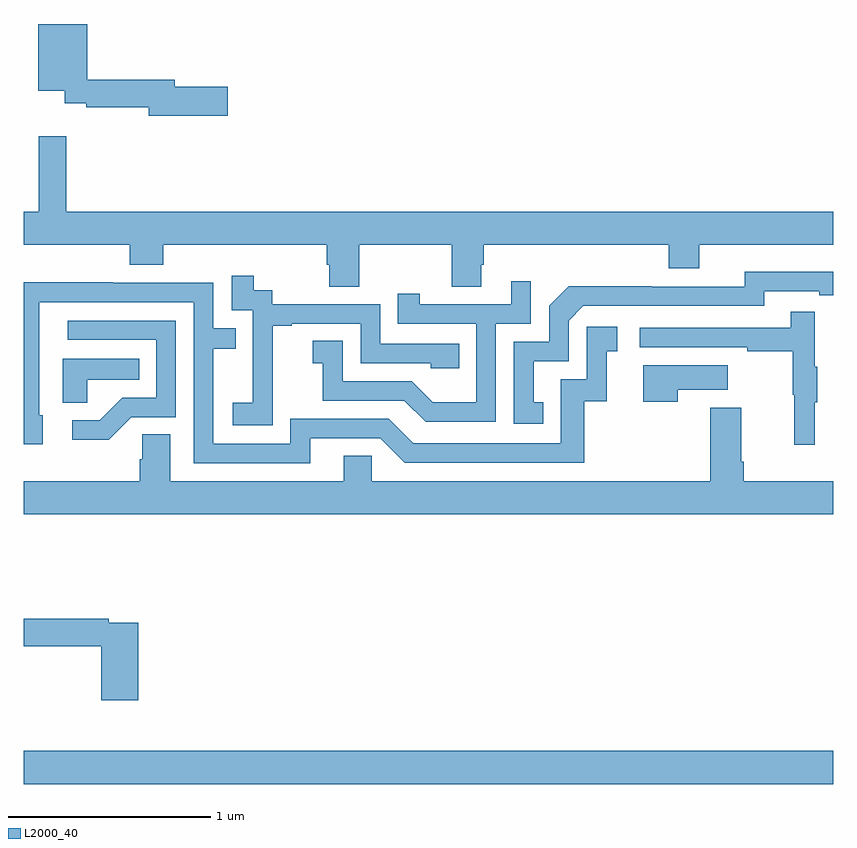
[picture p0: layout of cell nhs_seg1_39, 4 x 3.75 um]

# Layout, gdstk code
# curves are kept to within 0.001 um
import gdstk
lib = gdstk.Library(unit=1e-6, precision=1e-09)
def R(c, l, rs):  # rectangles x0, y0, x1, y1
    for r in rs: c.add(gdstk.rectangle(r[:2], r[2:], *l))
def P(c, l, *ps):  # polygons
    for p in ps: c.add(gdstk.Polygon(p, *l))
L2000_40 = (2000, 40)

nhs_seg1_39 = lib.new_cell('nhs_seg1_39')
R(nhs_seg1_39, L2000_40, [(113,506.444,117,506.608)])
P(nhs_seg1_39, L2000_40, [(114.007,509.888),(113.746,509.888),(113.746,509.924),(113.314,509.924),(113.314,510.199),(113.072,510.199),(113.072,509.87),(113.204,509.87),(113.204,509.807),(113.308,509.807),(113.308,509.788),(113.618,509.788),(113.618,509.746),(114.007,509.746)],
  [(114.657,509.108),(115.114,509.108),(115.114,508.9),(115.261,508.9),(115.261,509.01),(115.274,509.01),(115.274,509.108),(116.186,509.108),(116.186,508.991),(116.338,508.991),(116.338,509.108),(117,509.108),(117,509.272),(113.21,509.272),(113.21,509.644),(113.074,509.644),(113.074,509.272),(113,509.272),(113,509.108),(113.525,509.108),(113.525,509.009),(113.69,509.009),(113.69,509.108),(114.497,509.108),(114.497,509.01),(114.509,509.01),(114.509,508.9),(114.657,508.9)],
  [(115.568,508.329),(115.519,508.329),(115.519,508.533),(115.692,508.533),(115.692,508.734),(115.764,508.806),(116.658,508.806),(116.658,508.878),(116.93,508.878),(116.93,508.858),(117,508.858),(117,508.974),(116.562,508.975),(116.562,508.902),(116.102,508.902),(116.102,508.904),(115.694,508.904),(115.596,508.806),(115.596,508.629),(115.422,508.629),(115.422,508.224),(115.568,508.224)],
  [(114.231,508.423),(114.23,508.423),(114.23,508.707),(114.325,508.707),(114.325,508.719),(114.666,508.719),(114.666,508.524),(115.011,508.524),(115.011,508.497),(115.151,508.497),(115.151,508.62),(114.762,508.62),(114.762,508.815),(114.228,508.815),(114.228,508.884),(114.136,508.884),(114.136,508.954),(114.027,508.954),(114.027,508.785),(114.132,508.785),(114.132,508.556),(114.131,508.556),(114.131,508.327),(114.033,508.327),(114.033,508.217),(114.231,508.217)],
  [(115.332,508.719),(115.506,508.719),(115.506,508.927),(115.409,508.927),(115.409,508.815),(114.958,508.815),(114.958,508.867),(114.847,508.867),(114.847,508.719),(115.236,508.719),(115.236,508.33),(115.022,508.33),(114.918,508.434),(114.576,508.434),(114.576,508.633),(114.429,508.633),(114.429,508.523),(114.478,508.523),(114.478,508.338),(114.881,508.338),(114.986,508.233),(115.332,508.233)],
  [(114.415,508.152),(114.762,508.152),(114.882,508.032),(115.769,508.032),(115.769,508.335),(115.88,508.335),(115.88,508.581),(115.933,508.581),(115.933,508.702),(115.782,508.702),(115.782,508.443),(115.653,508.443),(115.653,508.128),(114.924,508.128),(114.804,508.248),(114.318,508.248),(114.318,508.125),(113.937,508.125),(113.937,508.594),(114.047,508.594),(114.047,508.695),(113.937,508.695),(113.937,508.92),(113.441,508.92),(113.441,508.922),(113,508.922),(113,508.122),(113.095,508.122),(113.095,508.266),(113.076,508.266),(113.076,508.824),(113.841,508.824),(113.841,508.029),(114.415,508.029)],
  [(116.909,508.331),(116.92,508.331),(116.92,508.505),(116.909,508.505),(116.909,508.777),(116.791,508.777),(116.791,508.698),(116.043,508.698),(116.043,508.602),(116.575,508.602),(116.575,508.582),(116.799,508.582),(116.799,508.368),(116.806,508.368),(116.806,508.119),(116.909,508.119)],
  [(113.532,508.257),(113.751,508.257),(113.751,508.734),(113.217,508.734),(113.217,508.638),(113.655,508.638),(113.655,508.353),(113.486,508.353),(113.375,508.242),(113.241,508.242),(113.241,508.145),(113.419,508.145)],
  [(113.313,508.442),(113.57,508.442),(113.57,508.546),(113.192,508.546),(113.192,508.327),(113.313,508.327)],
  [(116.231,508.391),(116.479,508.391),(116.479,508.513),(116.06,508.513),(116.06,508.332),(116.231,508.332)],
  [(117,507.94),(116.558,507.94),(116.558,508.036),(116.545,508.036),(116.545,508.303),(116.393,508.303),(116.393,507.94),(114.72,507.94),(114.72,508.067),(114.581,508.067),(114.581,507.94),(113.725,507.94),(113.725,508.172),(113.586,508.172),(113.586,508.049),(113.573,508.049),(113.573,507.94),(113,507.94),(113,507.776),(117,507.776)],
  [(113.567,507.24),(113.42,507.24),(113.42,507.26),(113,507.26),(113,507.124),(113.384,507.124),(113.384,506.859),(113.567,506.859)])

lib.write_gds('nhs_seg1_39.gds')
